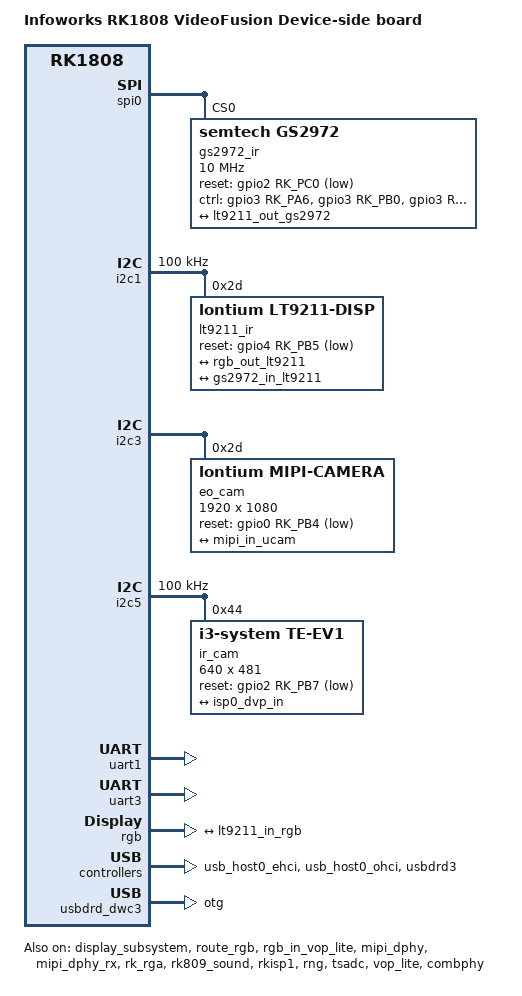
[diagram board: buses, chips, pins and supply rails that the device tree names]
// SPDX-License-Identifier: (GPL-2.0+ OR MIT)
/*
 * Copyright (c) 2018 Fuzhou Rockchip Electronics Co., Ltd
 */

/dts-v1/;
#include <dt-bindings/display/drm_mipi_dsi.h>
#include "rk1808-evb.dtsi"

/ {
	model = "Infoworks RK1808 VideoFusion Device-side board";
	compatible = "rockchip,rk1808-evb-v10", "rockchip,rk1808";

	chosen {
		bootargs = "earlycon=uart8250,mmio32,0xff430000 console=ttyFIQ0 root=PARTUUID=614e0000-0000 rootfstype=ext4 rootwait swiotlb=1 kpti=0 snd_aloop.index=7";
	};

	fiq-debugger {
		status = "okay";
		rockchip,serial-id = <0>;	// Debug UART0
		rockchip,irq-mode-enable = <1>;
		pinctrl-names = "default";
		pinctrl-0 = <&uart0_xfer>;
	};

	vad-sound {
		status = "disabled";
		compatible = "rockchip,multicodecs-card";
		rockchip,card-name = "rockchip,rk1808-vad";
		rockchip,cpu = <&pdm>;
		rockchip,codec = <&vad>;
	};
};

&threshold {
	temperature = <115000>;
};

&target {
	temperature = <115000>;
};

&soc_crit {
	temperature = <115000>;
};

/* 
	Peripherals 

	+-------------------------------------------------+
	|    Bus   |     Device    |         GPIO         |
	+----------+---------------+----------------------+
	|   SPI0   |  GS2972(IR)   | GPIO3_A6(TIM_861)    |
	|          |               | GPIO3_B0(RATE_SEL0)  |
	|          |               | GPIO3_B1(RATE_SEL1)  |
	|          |               | GPIO3_B5(SEL_BUS)    |
	|          |               | GPIO3_C1(DETECT_TRS) |
	|          |               | GPIO3_A0(ANC_BLANK)  |
	|          |               | GPIO2_C0(RESET)      |
	|          |               | GPIO2_C1(LOCKED)     |
	+----------+---------------+----------------------+
	|   I2C1   |    TW8845     | GPIO4_B5(RESET)      |
	|          |               | GPIO4_B4( INT )      |
	+----------+---------------+----------------------+
	| UART1_M0 |   HOST_UART   |                      |
	+----------+---------------+----------------------+
	| UART2_M0 |   IR RS232    |                      |
	+----------+---------------+----------------------+

*/

&sdmmc {
	status = "disabled";
};

/* GS2972 fusion/day/Night 3G-SDI Output */
&spi0 {
	status = "okay";
	max-freq = <10000000>;

	pinctrl-names = "default", "high_speed";
	pinctrl-0 = <&spi0_clk &spi0_csn &spi0_miso &spi0_mosi>;
	pinctrl-1 = <&spi0_clk_hs &spi0_csn &spi0_miso_hs &spi0_mosi_hs>;
	
	gs2972_ir@0 {
		status = "okay";
		compatible = "semtech,gs2972";

		id = <0>;
		reg = <0>;	// cs0
		spi-max-frequency = <10000000>;

		panel-width-mm = <500>;
		panel-height-mm = <300>;

		reset-gpios = <&gpio2 RK_PC0 GPIO_ACTIVE_LOW>;

		/* [0] TIM_861  [1] RATE_SEL0  [2] RATE_SEL1
			[3] SEL_BUS  [4] DETECT_TRS [5] ANC_BLANK */

		ctrl-gpios = <&gpio3 RK_PA6 GPIO_ACTIVE_HIGH>,		/* TIM_861 */
							<&gpio3 RK_PB0 GPIO_ACTIVE_HIGH>,	/* RATE_SEL0 */
							<&gpio3 RK_PB1 GPIO_ACTIVE_HIGH>,	/* RATE_SEL1 */
							<&gpio3 RK_PB5 GPIO_ACTIVE_HIGH>,	/* SEL_BUS */
							<&gpio3 RK_PC1 GPIO_ACTIVE_HIGH>,	/* DETECT_TRS */
							<&gpio3 RK_PA0 GPIO_ACTIVE_HIGH>;	/* ANC_BLANK */

		bus-format = <MEDIA_BUS_FMT_RGB666_1X18>;

		display-timings {
			timing {
				clock-frequency = <74250000>;
				hactive = <1920>;
				vactive = <1080>;
				hback-porch = <148>;
				hfront-porch = <88>;
				vback-porch = <36>;
				vfront-porch = <4>;
				hsync-len = <44>;
				vsync-len = <5>;
				hsync-active = <1>;
				vsync-active = <1>;
				de-active = <1>;
				pixelclk-active = <1>;
			};
		};

		port {
			gs2972_in_lt9211: endpoint {
				remote-endpoint = <&lt9211_out_gs2972>;
			};
		};
	};
};

/* LT9211 (Fusion Output ) */
&i2c1 {
	status = "okay";
	clock-frequency = <100000>;

	lt9211_ir: lt9211@2d {
		status = "okay";
		compatible = "lontium,lt9211-disp";
		reg = <0x2d>;
		reset-gpios = <&gpio4 RK_PB5 GPIO_ACTIVE_LOW>;

		ports {
			#address-cells = <1>;
			#size-cells = <0>;

			port@0 {
				reg = <0>;

				lt9211_in_rgb: endpoint {
					remote-endpoint = <&rgb_out_lt9211>;
				};
			};

			port@1 {
				reg = <1>;
	
				lt9211_out_gs2972: endpoint {
					remote-endpoint = <&gs2972_in_lt9211>;
				};
			};
		};
	};

};

/* receive MIPI-CSI*/
&i2c3 {
	status = "okay";
	eo_cam@33 {
		status = "okay";
		compatible = "lontium,mipi-camera";
		reg = <0x2d>;
		width = <1920>;
		height = <1080>;
		bus-format = <MEDIA_BUS_FMT_UYVY8_2X8>;
		reset-gpios = <&gpio0 RK_PB4 GPIO_ACTIVE_LOW>;

		rockchip,camera-module-index = <0>;
		rockchip,camera-module-facing = "back";
		rockchip,camera-module-name = "TongJu";
		rockchip,camera-mocule-lens-name = "CHT842-MD";

		port {
			dcam_out: endpoint {
				remote-endpoint = <&mipi_in_ucam>;
				link-frequencies = /bits/ 64 <400000000>;
				data-lanes = <1 2 3 4>;
			};
		};
	};
};

&i2c4 {
	status = "disabled";
};

&i2c5 {
	status = "okay";
	clock-frequency = <100000>;

	ir_cam@44 {
		status = "okay";
		compatible = "i3-system,te-ev1";

		reg = <0x44>;
		width = <640>;
		height = <481>; 

		bus-format = <MEDIA_BUS_FMT_Y8_1X8>;
		reset-gpios = <&gpio2 RK_PB7 GPIO_ACTIVE_LOW>;

		pinctrl-names = "default";
		pinctrl-0 = <&cif_d2d9_m0>;

		rockchip,camera-module-index = <0>;
		rockchip,camera-module-facing = "back";
		rockchip,camera-module-name = "TongJu";
		rockchip,camera-module-lens-name = "CHT842-MD";

		port {
			#address-cells = <1>;
			#size-cells = <0>;

			ucam_out: endpoint@1 {
				reg = <1>;
				remote-endpoint = <&isp0_dvp_in>;
			};
		};
	};
};

&adc_key {
	status = "disabled";
};

&display_subsystem {
	status = "okay";
};

&route_rgb {
	connect = <&vop_lite_out_rgb>;
	status = "okay";
};

&rgb_in_vop_lite {
	status = "okay";
};

&uart1 {
	status = "okay";

	pinctrl-names = "default";
	pinctrl-0 = <&uart1m0_xfer>;
};

&uart2 {
	status = "disabled";
};

&pwm1 {
	status = "disabled";
};

&pwm3 {
	status = "disabled";
};

&uart3 {
	status = "okay";

	pinctrl-names = "default";
	pinctrl-0 = <&uart3m0_xfer>;
};

&uart4 {
	status = "disabled";
};

&sdio {
	status = "disabled";
};

&rgb {
	status = "okay";

	pinctrl-names = "default";
	pinctrl-0 = <&lcdc_rgb_dclk_pin &lcdc_rgb_den_pin
						&lcdc_rgb_m1_hsync_pin &lcdc_rgb_m1_vsync_pin 
						&lcdc_rgb666_data_pins>;

	ports {
		port@1 {
			reg = <1>;

			rgb_out_lt9211: endpoint {
				remote-endpoint = <&lt9211_in_rgb>;
			};
		};
	};
};
/*
/ {
	panel: panel {
		status = "okay";
		compatible = "simple-panel";
	
		pinctrl-names = "default";
		pinctrl-0 = <&lcdc_rgb_dclk_pin &lcdc_rgb_den_pin
						&lcdc_rgb_m0_hsync_pin &lcdc_rgb_m0_vsync_pin 
						&lcdc_rgb666_data_pins>;

		bus-format = <MEDIA_BUS_FMT_RGB666_1X18>;
		
		width-mm = <120>;
		height-mm = <80>;

		power-supply = <&lcd_pwr>;
		backlight = <&backlight>;


		display-timings {
			native-mode = <&timing_1080p30>;

			timing_720p30: timing_720p30 {
				clock-frequency = <37125000>; 
				hactive = <1280>;
				vactive = <720>;
				hback-porch = <220>;
				hfront-porch = <110>;
				vback-porch = <20>;
				vfront-porch = <5>;
				hsync-len = <40>;
				vsync-len = <5>;
				hsync-active = <1>;
				vsync-active = <1>;
				de-active = <1>;
				pixelclk-active = <1>;
			};

			timing_720p60: timing_720p60 {
				clock-frequency = <74250000>; 
				hactive = <1280>;
				vactive = <720>;
				hback-porch = <220>;
				hfront-porch = <110>;
				vback-porch = <20>;
				vfront-porch = <5>;
				hsync-len = <40>;
				vsync-len = <5>;
				hsync-active = <1>;
				vsync-active = <1>;
				de-active = <1>;
				pixelclk-active = <1>;
			};

			timing_1080p30: timing_1080p30{
				clock-frequency = <74250000>;
				hactive = <1920>;
				vactive = <1080>;
				hback-porch = <148>;
				hfront-porch = <88>;
				vback-porch = <36>;
				vfront-porch = <4>;
				hsync-len = <44>;
				vsync-len = <5>;
				hsync-active = <1>;
				vsync-active = <1>;
				de-active = <1>;
				pixelclk-active = <1>;
			};

			timing_1080p60: timing_1080p60{
				clock-frequency = <148500000>;
				hactive = <1920>;
				vactive = <1080>;
				hback-porch = <148>;
				hfront-porch = <88>;
				vback-porch = <36>;
				vfront-porch = <4>;
				hsync-len = <44>;
				vsync-len = <5>;
				hsync-active = <1>;
				vsync-active = <1>;
				de-active = <1>;
				pixelclk-active = <1>;
			};


		};

		port {
			panel_in_rgb: endpoint {
				remote-endpoint = <&rgb_out_panel>;
			};
		};
	};
};
*/

&pdm {
	status = "disabled";
	#sound-dai-cells = <0>;
};

&i2s1 {
	status = "disabled";
	#sound-dai-cells = <0>;
};

&isp_mmu {
	status = "okay";
};

&mipi_dphy {
	status = "okay";
};

&mipi_dphy_rx {
	status = "okay";
	
	ports {
		#address-cells = <1>;
		#size-cells = <0>;

		port@0 {
			reg = <0>;
			#address-cells = <1>;
			#size-cells = <0>;

			mipi_in_ucam: endpoint@1 {
				reg = <1>;
				remote-endpoint = <&ucam_out>;
				data-lanes = <1 2 3 4>;
			};
		};

		port@1 {
			reg = <1>;
			#address-cells = <1>;
			#size-cells = <0>;

			dphy_rx0_out: endpoint@0 {
				reg = <0>;
				remote-endpoint = <&isp0_mipi_in>;
				data-lanes = <1 2 3 4>;
			};
		};
	};
};

&rk_rga {
	status =  "okay";
};

&rk809_sound {
	status = "okay";
};

&rk809 {
	/delete-property/ pwrkey;
};

&saradc {
	status = "disabled";
};

&vcc1v8_dvp {
	/delete-property/ regulator-always-on;
	/delete-property/ regulator-boot-on;
};

&vdd1v5_dvp {
	/delete-property/ regulator-always-on;
	/delete-property/ regulator-boot-on;
};

&vcc2v8_dvp {
	/delete-property/ regulator-always-on;
	/delete-property/ regulator-boot-on;
};

&vccio_sd {
	/delete-property/ regulator-always-on;
	/delete-property/ regulator-boot-on;
};

&vcc3v3_sd {
	/delete-property/ regulator-always-on;
	/delete-property/ regulator-boot-on;
};

&vcc5v0_host {
	/delete-property/ regulator-always-on;
	/delete-property/ regulator-boot-on;
};

&rkisp1 {
	status = "okay";

	port {
		#address-cells = <1>;
		#size-cells = <0>;

		isp0_dvp_in: endpoint@1 {
			reg = <1>;
			remote-endpoint = <&ucam_out>;
		};
	};
};

&rng {
	status = "okay";
};

&rockchip_suspend {
	status = "okay";
	rockchip,sleep-debug-en = <1>;
};

&tsadc {
	rockchip,hw-tshut-mode = <1>; /* tshut mode 0:CRU 1:GPIO */
	rockchip,hw-tshut-polarity = <0>; /* tshut polarity 0:LOW 1:HIGH */
	pinctrl-names = "gpio", "otpout";
	pinctrl-0 = <&tsadc_otp_gpio>;
	pinctrl-1 = <&tsadc_otp_out>;
	status = "okay";
};

&vad {
	status = "disabled";
};

&vop_lite {
	status = "okay";
};

&vopl_mmu {
	status = "okay";
};

&vpu_mmu {
	status = "disabled";
};

&vpu_service {
	status = "disabled";
};

/* 2019.08.13. JSPARK Add*/

&combphy {
	status = "okay";
};

&usb_host0_ehci {
        status = "okay";
};

&usb_host0_ohci {
        status = "okay";
};

&pcie0 {
	status = "disabled";
};

&usbdrd3 {
	status = "okay";
};

&usbdrd_dwc3{
	status = "okay";
	dr_mode = "otg";
};

&wireless_wlan {
	status = "disabled";
};

&wireless_bluetooth {
	status = "disabled";
};

